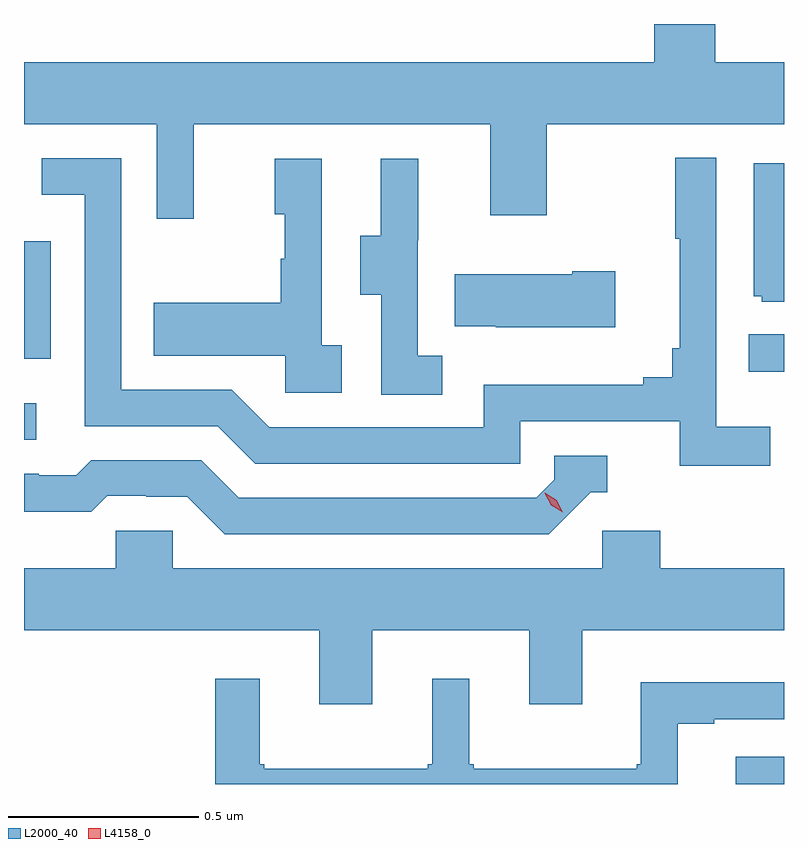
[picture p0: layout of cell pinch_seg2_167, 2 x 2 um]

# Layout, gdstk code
import gdstk
lib = gdstk.Library(unit=1e-6, precision=1e-09)
def R(c, l, rs):  # rectangles x0, y0, x1, y1
    for r in rs: c.add(gdstk.rectangle(r[:2], r[2:], *l))
def P(c, l, *ps):  # polygons
    for p in ps: c.add(gdstk.Polygon(p, *l))
L2000_40 = (2000, 40)
L4158_0 = (4158, 0)

pinch_seg2_167 = lib.new_cell('pinch_seg2_167')
R(pinch_seg2_167, L2000_40, [(1119.009,625.92,1119.136,625.992), (1117.136,626.826,1117.168,626.922), (1119.043,627.005,1119.136,627.104), (1117.136,627.039,1117.206,627.348)])
P(pinch_seg2_167, L2000_40, [(1117.583,627.656),(1118.363,627.656),(1118.363,627.417),(1118.511,627.417),(1118.511,627.656),(1119.136,627.656),(1119.136,627.82),(1118.955,627.82),(1118.955,627.92),(1118.795,627.92),(1118.795,627.82),(1117.136,627.82),(1117.136,627.656),(1117.485,627.656),(1117.485,627.408),(1117.583,627.408)],
  [(1119.1,626.86),(1118.958,626.86),(1118.958,627.568),(1118.85,627.568),(1118.85,627.355),(1118.861,627.355),(1118.861,627.067),(1118.842,627.067),(1118.842,626.99),(1118.765,626.99),(1118.765,626.971),(1118.346,626.971),(1118.346,626.859),(1117.782,626.859),(1117.683,626.958),(1117.392,626.958),(1117.392,627.567),(1117.183,627.567),(1117.183,627.471),(1117.296,627.471),(1117.296,626.862),(1117.646,626.862),(1117.745,626.763),(1118.442,626.763),(1118.442,626.874),(1118.861,626.874),(1118.861,626.758),(1119.1,626.758)],
  [(1118.236,627.047),(1118.172,627.047),(1118.172,627.351),(1118.174,627.351),(1118.174,627.565),(1118.075,627.565),(1118.075,627.363),(1118.021,627.363),(1118.021,627.208),(1118.076,627.208),(1118.076,626.944),(1118.236,626.944)],
  [(1117.972,627.074),(1117.92,627.074),(1117.92,627.565),(1117.796,627.565),(1117.796,627.42),(1117.822,627.42),(1117.822,627.302),(1117.812,627.302),(1117.812,627.187),(1117.477,627.187),(1117.477,627.047),(1117.824,627.047),(1117.824,626.949),(1117.972,626.949)],
  [(1119.136,627.553),(1119.056,627.553),(1119.056,627.204),(1119.078,627.204),(1119.078,627.189),(1119.136,627.189)],
  [(1118.692,627.27),(1118.579,627.27),(1118.579,627.262),(1118.269,627.262),(1118.269,627.125),(1118.377,627.125),(1118.377,627.122),(1118.692,627.122)],
  [(1118.628,626.688),(1118.671,626.688),(1118.671,626.784),(1118.532,626.784),(1118.532,626.721),(1118.484,626.673),(1117.701,626.673),(1117.602,626.772),(1117.313,626.772),(1117.274,626.733),(1117.175,626.733),(1117.175,626.736),(1117.136,626.736),(1117.136,626.637),(1117.313,626.637),(1117.355,626.679),(1117.458,626.679),(1117.458,626.676),(1117.565,626.676),(1117.664,626.577),(1118.517,626.577)],
  [(1118.053,626.324),(1118.465,626.324),(1118.465,626.13),(1118.605,626.13),(1118.605,626.324),(1119.136,626.324),(1119.136,626.488),(1118.81,626.488),(1118.81,626.586),(1118.658,626.586),(1118.658,626.488),(1117.527,626.488),(1117.527,626.586),(1117.377,626.586),(1117.377,626.488),(1117.136,626.488),(1117.136,626.324),(1117.913,626.324),(1117.913,626.13),(1118.053,626.13)],
  [(1118.857,626.079),(1118.953,626.079),(1118.953,626.091),(1119.136,626.091),(1119.136,626.188),(1118.759,626.188),(1118.759,625.972),(1118.748,625.972),(1118.748,625.96),(1118.32,625.96),(1118.32,625.972),(1118.308,625.972),(1118.308,626.197),(1118.21,626.197),(1118.21,625.972),(1118.199,625.972),(1118.199,625.96),(1117.768,625.96),(1117.768,625.972),(1117.756,625.972),(1117.756,626.197),(1117.639,626.197),(1117.639,625.92),(1118.857,625.92)])
P(pinch_seg2_167, L4158_0, [(1118.554,626.635),(1118.523,626.653),(1118.506,626.685),(1118.506,626.686),(1118.507,626.686),(1118.538,626.667),(1118.554,626.635),(1118.554,626.635)])

lib.write_gds('pinch_seg2_167.gds')
